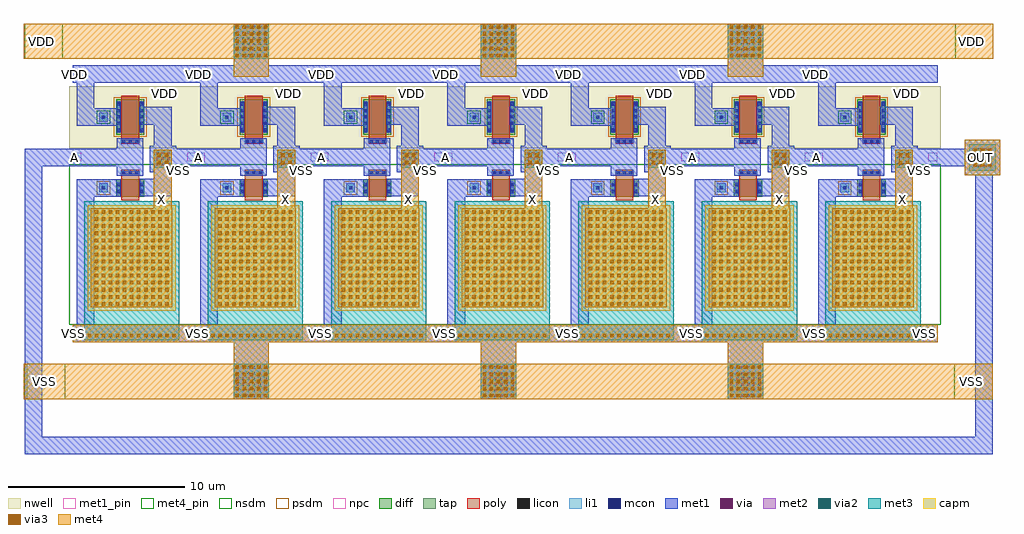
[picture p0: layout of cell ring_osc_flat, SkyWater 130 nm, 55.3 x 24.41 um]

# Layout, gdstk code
import gdstk
lib = gdstk.Library(unit=1e-6, precision=1e-09)
def R(c, l, rs):  # rectangles x0, y0, x1, y1
    for r in rs: c.add(gdstk.rectangle(r[:2], r[2:], *l))
def A(c, l, x, y, w, h, nx, ny, dx, dy):  # array of equal rectangles
    R(c, l, [(x+i*dx, y+j*dy, x+i*dx+w, y+j*dy+h) for i in range(nx) for j in range(ny)])
nwell = (64, 20)
diff = (65, 20)
tap = (65, 44)
poly = (66, 20)
licon = (66, 44)
li1 = (67, 20)
mcon = (67, 44)
met1_pin = (68, 16)
met1 = (68, 20)
via = (68, 44)
met2 = (69, 20)
via2 = (69, 44)
met3 = (70, 20)
via3 = (70, 44)
met4_pin = (71, 16)
met4 = (71, 20)
capm = (89, 44)
nsdm = (93, 44)
psdm = (94, 20)
npc = (95, 20)

ring_osc_flat = lib.new_cell('ring_osc_flat')
A(ring_osc_flat, nwell, -0.2, 11, 7.4, 3.5, 7, 1, 7, 0)
A(ring_osc_flat, nwell, 2.165, 11.05, 2.21, 3.1, 7, 1, 7, 0)
A(ring_osc_flat, nwell, 1.32, 12.32, 0.86, 0.86, 7, 1, 7, 0)
A(ring_osc_flat, diff, 2.47, 8.25, 1.6, 1, 7, 1, 7, 0)
A(ring_osc_flat, diff, 2.47, 11.77, 1.6, 2, 7, 1, 7, 0)
A(ring_osc_flat, tap, 1.5, 8.5, 0.5, 0.5, 7, 2, 7, 4)
A(ring_osc_flat, poly, 2.77, 8.05, 1, 1.4, 7, 1, 7, 0)
A(ring_osc_flat, poly, 2.77, 9.45, 1, 0.33, 7, 2, 7, 1.79)
A(ring_osc_flat, poly, 2.77, 11.57, 1, 2.4, 7, 1, 7, 0)
A(ring_osc_flat, licon, 1.665, 8.665, 0.17, 0.17, 7, 2, 7, 4)
A(ring_osc_flat, licon, 2.825, 9.53, 0.17, 0.17, 3, 2, 0.36, 1.79)
A(ring_osc_flat, licon, 9.825, 9.53, 0.17, 0.17, 3, 2, 0.36, 1.79)
A(ring_osc_flat, licon, 16.825, 9.53, 0.17, 0.17, 3, 2, 0.36, 1.79)
A(ring_osc_flat, licon, 23.825, 9.53, 0.17, 0.17, 3, 2, 0.36, 1.79)
A(ring_osc_flat, licon, 30.825, 9.53, 0.17, 0.17, 3, 2, 0.36, 1.79)
A(ring_osc_flat, licon, 37.825, 9.53, 0.17, 0.17, 3, 2, 0.36, 1.79)
A(ring_osc_flat, licon, 44.825, 9.53, 0.17, 0.17, 3, 2, 0.36, 1.79)
A(ring_osc_flat, licon, 2.535, 11.965, 0.17, 0.17, 1, 5, 0, 0.36)
A(ring_osc_flat, licon, 3.835, 11.965, 0.17, 0.17, 1, 5, 0, 0.36)
A(ring_osc_flat, licon, 9.535, 11.965, 0.17, 0.17, 1, 5, 0, 0.36)
A(ring_osc_flat, licon, 10.835, 11.965, 0.17, 0.17, 1, 5, 0, 0.36)
A(ring_osc_flat, licon, 16.535, 11.965, 0.17, 0.17, 1, 5, 0, 0.36)
A(ring_osc_flat, licon, 17.835, 11.965, 0.17, 0.17, 1, 5, 0, 0.36)
A(ring_osc_flat, licon, 23.535, 11.965, 0.17, 0.17, 1, 5, 0, 0.36)
A(ring_osc_flat, licon, 24.835, 11.965, 0.17, 0.17, 1, 5, 0, 0.36)
A(ring_osc_flat, licon, 30.535, 11.965, 0.17, 0.17, 1, 5, 0, 0.36)
A(ring_osc_flat, licon, 31.835, 11.965, 0.17, 0.17, 1, 5, 0, 0.36)
A(ring_osc_flat, licon, 37.535, 11.965, 0.17, 0.17, 1, 5, 0, 0.36)
A(ring_osc_flat, licon, 38.835, 11.965, 0.17, 0.17, 1, 5, 0, 0.36)
A(ring_osc_flat, licon, 44.535, 11.965, 0.17, 0.17, 1, 5, 0, 0.36)
A(ring_osc_flat, licon, 45.835, 11.965, 0.17, 0.17, 1, 5, 0, 0.36)
R(ring_osc_flat, licon, [(2.535,8.485,2.705,8.655), (3.835,8.485,4.005,8.655), (9.535,8.485,9.705,8.655), (10.835,8.485,11.005,8.655), (16.535,8.485,16.705,8.655), (17.835,8.485,18.005,8.655), (23.535,8.485,23.705,8.655), (24.835,8.485,25.005,8.655), (30.535,8.485,30.705,8.655), (31.835,8.485,32.005,8.655), (37.535,8.485,37.705,8.655), (38.835,8.485,39.005,8.655), (44.535,8.485,44.705,8.655), (45.835,8.485,46.005,8.655), (2.535,8.845,2.705,9.015), (3.835,8.845,4.005,9.015), (9.535,8.845,9.705,9.015), (10.835,8.845,11.005,9.015), (16.535,8.845,16.705,9.015), (17.835,8.845,18.005,9.015), (23.535,8.845,23.705,9.015), (24.835,8.845,25.005,9.015), (30.535,8.845,30.705,9.015), (31.835,8.845,32.005,9.015), (37.535,8.845,37.705,9.015), (38.835,8.845,39.005,9.015), (44.535,8.845,44.705,9.015), (45.835,8.845,46.005,9.015)])
A(ring_osc_flat, li1, 1.5, 8.5, 0.5, 0.5, 7, 2, 7, 4)
A(ring_osc_flat, li1, 2.745, 9.53, 1.05, 0.17, 7, 2, 7, 1.79)
R(ring_osc_flat, li1, [(2.535,8.405,2.705,9.095), (3.835,8.405,4.005,9.095), (9.535,8.405,9.705,9.095), (10.835,8.405,11.005,9.095), (16.535,8.405,16.705,9.095), (17.835,8.405,18.005,9.095), (23.535,8.405,23.705,9.095), (24.835,8.405,25.005,9.095), (30.535,8.405,30.705,9.095), (31.835,8.405,32.005,9.095), (37.535,8.405,37.705,9.095), (38.835,8.405,39.005,9.095), (44.535,8.405,44.705,9.095), (45.835,8.405,46.005,9.095), (2.535,11.885,2.705,13.655), (3.835,11.885,4.005,13.655), (9.535,11.885,9.705,13.655), (10.835,11.885,11.005,13.655), (16.535,11.885,16.705,13.655), (17.835,11.885,18.005,13.655), (23.535,11.885,23.705,13.655), (24.835,11.885,25.005,13.655), (30.535,11.885,30.705,13.655), (31.835,11.885,32.005,13.655), (37.535,11.885,37.705,13.655), (38.835,11.885,39.005,13.655), (44.535,11.885,44.705,13.655), (45.835,11.885,46.005,13.655)])
A(ring_osc_flat, mcon, 1.665, 8.665, 0.17, 0.17, 7, 2, 7, 4)
A(ring_osc_flat, mcon, 2.825, 9.53, 0.17, 0.17, 3, 2, 0.36, 1.79)
A(ring_osc_flat, mcon, 9.825, 9.53, 0.17, 0.17, 3, 2, 0.36, 1.79)
A(ring_osc_flat, mcon, 16.825, 9.53, 0.17, 0.17, 3, 2, 0.36, 1.79)
A(ring_osc_flat, mcon, 23.825, 9.53, 0.17, 0.17, 3, 2, 0.36, 1.79)
A(ring_osc_flat, mcon, 30.825, 9.53, 0.17, 0.17, 3, 2, 0.36, 1.79)
A(ring_osc_flat, mcon, 37.825, 9.53, 0.17, 0.17, 3, 2, 0.36, 1.79)
A(ring_osc_flat, mcon, 44.825, 9.53, 0.17, 0.17, 3, 2, 0.36, 1.79)
A(ring_osc_flat, mcon, 2.535, 11.965, 0.17, 0.17, 1, 5, 0, 0.36)
A(ring_osc_flat, mcon, 3.835, 11.965, 0.17, 0.17, 1, 5, 0, 0.36)
A(ring_osc_flat, mcon, 9.535, 11.965, 0.17, 0.17, 1, 5, 0, 0.36)
A(ring_osc_flat, mcon, 10.835, 11.965, 0.17, 0.17, 1, 5, 0, 0.36)
A(ring_osc_flat, mcon, 16.535, 11.965, 0.17, 0.17, 1, 5, 0, 0.36)
A(ring_osc_flat, mcon, 17.835, 11.965, 0.17, 0.17, 1, 5, 0, 0.36)
A(ring_osc_flat, mcon, 23.535, 11.965, 0.17, 0.17, 1, 5, 0, 0.36)
A(ring_osc_flat, mcon, 24.835, 11.965, 0.17, 0.17, 1, 5, 0, 0.36)
A(ring_osc_flat, mcon, 30.535, 11.965, 0.17, 0.17, 1, 5, 0, 0.36)
A(ring_osc_flat, mcon, 31.835, 11.965, 0.17, 0.17, 1, 5, 0, 0.36)
A(ring_osc_flat, mcon, 37.535, 11.965, 0.17, 0.17, 1, 5, 0, 0.36)
A(ring_osc_flat, mcon, 38.835, 11.965, 0.17, 0.17, 1, 5, 0, 0.36)
A(ring_osc_flat, mcon, 44.535, 11.965, 0.17, 0.17, 1, 5, 0, 0.36)
A(ring_osc_flat, mcon, 45.835, 11.965, 0.17, 0.17, 1, 5, 0, 0.36)
R(ring_osc_flat, mcon, [(2.535,8.485,2.705,8.655), (3.835,8.485,4.005,8.655), (9.535,8.485,9.705,8.655), (10.835,8.485,11.005,8.655), (16.535,8.485,16.705,8.655), (17.835,8.485,18.005,8.655), (23.535,8.485,23.705,8.655), (24.835,8.485,25.005,8.655), (30.535,8.485,30.705,8.655), (31.835,8.485,32.005,8.655), (37.535,8.485,37.705,8.655), (38.835,8.485,39.005,8.655), (44.535,8.485,44.705,8.655), (45.835,8.485,46.005,8.655), (2.535,8.845,2.705,9.015), (3.835,8.845,4.005,9.015), (9.535,8.845,9.705,9.015), (10.835,8.845,11.005,9.015), (16.535,8.845,16.705,9.015), (17.835,8.845,18.005,9.015), (23.535,8.845,23.705,9.015), (24.835,8.845,25.005,9.015), (30.535,8.845,30.705,9.015), (31.835,8.845,32.005,9.015), (37.535,8.845,37.705,9.015), (38.835,8.845,39.005,9.015), (44.535,8.845,44.705,9.015), (45.835,8.845,46.005,9.015)])
A(ring_osc_flat, met1_pin, 0, 0.23, 0.5, 0.5, 7, 2, 7, 14.72)
R(ring_osc_flat, met1_pin, [(0,10.25,0.5,10.75), (6.49,10.25,6.99,10.75), (7,10.25,7.5,10.75), (13.49,10.25,13.99,10.75), (14,10.25,14.5,10.75), (20.49,10.25,20.99,10.75), (21,10.25,21.5,10.75), (27.49,10.25,27.99,10.75), (28,10.25,28.5,10.75), (34.49,10.25,34.99,10.75), (35,10.25,35.5,10.75), (41.49,10.25,41.99,10.75), (42,10.25,42.5,10.75), (48.49,10.25,48.99,10.75)])
A(ring_osc_flat, met1, 9.13, -3.21, 2, 2, 3, 2, 14, 19.27)
A(ring_osc_flat, met1, 1.5, 8.5, 0.5, 0.5, 7, 2, 7, 4)
A(ring_osc_flat, met1, 2.765, 9.5, 1.01, 0.23, 7, 2, 7, 1.79)
A(ring_osc_flat, met1, 4.38, 9.65, 1.5, 1.5, 7, 1, 7, 0)
A(ring_osc_flat, met1, 4.61, 9.9, 1, 1, 7, 1, 7, 0)
A(ring_osc_flat, met1, 0.72, 12.96, 0.07, 0.31, 7, 1, 7, 0)
R(ring_osc_flat, met1, [(2.505,8.425,2.735,9.075), (3.805,8.425,4.035,9.075), (9.505,8.425,9.735,9.075), (10.805,8.425,11.035,9.075), (16.505,8.425,16.735,9.075), (17.805,8.425,18.035,9.075), (23.505,8.425,23.735,9.075), (24.805,8.425,25.035,9.075), (30.505,8.425,30.735,9.075), (31.805,8.425,32.035,9.075), (37.505,8.425,37.735,9.075), (38.805,8.425,39.035,9.075), (44.505,8.425,44.735,9.075), (45.805,8.425,46.035,9.075), (50.545,9.47,52.545,11.47), (50.81,9.73,52.31,11.23), (2.505,11.905,2.735,13.635), (3.805,11.905,4.035,13.635), (9.505,11.905,9.735,13.635), (10.805,11.905,11.035,13.635), (16.505,11.905,16.735,13.635), (17.805,11.905,18.035,13.635), (23.505,11.905,23.735,13.635), (24.805,11.905,25.035,13.635), (30.505,11.905,30.735,13.635), (31.805,11.905,32.035,13.635), (37.505,11.905,37.735,13.635), (38.805,11.905,39.035,13.635), (44.505,11.905,44.735,13.635), (45.805,11.905,46.035,13.635)])
A(ring_osc_flat, via, 9.255, -3.085, 0.15, 0.15, 6, 6, 0.32, 0.32)
A(ring_osc_flat, via, 23.255, -3.085, 0.15, 0.15, 6, 6, 0.32, 0.32)
A(ring_osc_flat, via, 37.255, -3.085, 0.15, 0.15, 6, 6, 0.32, 0.32)
A(ring_osc_flat, via, 51.005, 9.925, 0.15, 0.15, 4, 4, 0.32, 0.32)
A(ring_osc_flat, via, 4.715, 10.005, 0.15, 0.15, 3, 3, 0.32, 0.32)
A(ring_osc_flat, via, 11.715, 10.005, 0.15, 0.15, 3, 3, 0.32, 0.32)
A(ring_osc_flat, via, 18.715, 10.005, 0.15, 0.15, 3, 3, 0.32, 0.32)
A(ring_osc_flat, via, 25.715, 10.005, 0.15, 0.15, 3, 3, 0.32, 0.32)
A(ring_osc_flat, via, 32.715, 10.005, 0.15, 0.15, 3, 3, 0.32, 0.32)
A(ring_osc_flat, via, 39.715, 10.005, 0.15, 0.15, 3, 3, 0.32, 0.32)
A(ring_osc_flat, via, 46.715, 10.005, 0.15, 0.15, 3, 3, 0.32, 0.32)
A(ring_osc_flat, via, 9.255, 16.185, 0.15, 0.15, 6, 6, 0.32, 0.32)
A(ring_osc_flat, via, 23.255, 16.185, 0.15, 0.15, 6, 6, 0.32, 0.32)
A(ring_osc_flat, via, 37.255, 16.185, 0.15, 0.15, 6, 6, 0.32, 0.32)
A(ring_osc_flat, met2, 9.13, -3.21, 2, 2, 3, 2, 14, 19.27)
A(ring_osc_flat, met2, 4.61, 9.9, 1, 1, 7, 1, 7, 0)
R(ring_osc_flat, met2, [(50.81,9.73,52.31,11.23)])
A(ring_osc_flat, via2, 9.23, -3.11, 0.2, 0.2, 5, 5, 0.4, 0.4)
A(ring_osc_flat, via2, 23.23, -3.11, 0.2, 0.2, 5, 5, 0.4, 0.4)
A(ring_osc_flat, via2, 37.23, -3.11, 0.2, 0.2, 5, 5, 0.4, 0.4)
A(ring_osc_flat, via2, 51.06, 9.98, 0.2, 0.2, 3, 3, 0.4, 0.4)
A(ring_osc_flat, via2, 9.23, 16.16, 0.2, 0.2, 5, 5, 0.4, 0.4)
A(ring_osc_flat, via2, 23.23, 16.16, 0.2, 0.2, 5, 5, 0.4, 0.4)
A(ring_osc_flat, via2, 37.23, 16.16, 0.2, 0.2, 5, 5, 0.4, 0.4)
R(ring_osc_flat, via2, [(4.81,10.1,5.01,10.3), (5.21,10.1,5.41,10.3), (11.81,10.1,12.01,10.3), (12.21,10.1,12.41,10.3), (18.81,10.1,19.01,10.3), (19.21,10.1,19.41,10.3), (25.81,10.1,26.01,10.3), (26.21,10.1,26.41,10.3), (32.81,10.1,33.01,10.3), (33.21,10.1,33.41,10.3), (39.81,10.1,40.01,10.3), (40.21,10.1,40.41,10.3), (46.81,10.1,47.01,10.3), (47.21,10.1,47.41,10.3), (4.81,10.5,5.01,10.7), (5.21,10.5,5.41,10.7), (11.81,10.5,12.01,10.7), (12.21,10.5,12.41,10.7), (18.81,10.5,19.01,10.7), (19.21,10.5,19.41,10.7), (25.81,10.5,26.01,10.7), (26.21,10.5,26.41,10.7), (32.81,10.5,33.01,10.7), (33.21,10.5,33.41,10.7), (39.81,10.5,40.01,10.7), (40.21,10.5,40.41,10.7), (46.81,10.5,47.01,10.7), (47.21,10.5,47.41,10.7)])
A(ring_osc_flat, met3, 9.13, -3.21, 2, 2, 3, 2, 14, 19.27)
A(ring_osc_flat, met3, 0.65, 0.12, 5.4, 7.86, 7, 1, 7, 0)
A(ring_osc_flat, met3, 4.61, 9.9, 1, 1, 7, 1, 7, 0)
R(ring_osc_flat, met3, [(50.81,9.73,52.31,11.23)])
A(ring_osc_flat, via3, 9.23, -3.11, 0.2, 0.2, 5, 5, 0.4, 0.4)
A(ring_osc_flat, via3, 23.23, -3.11, 0.2, 0.2, 5, 5, 0.4, 0.4)
A(ring_osc_flat, via3, 37.23, -3.11, 0.2, 0.2, 5, 5, 0.4, 0.4)
A(ring_osc_flat, via3, 0.85, 0.28, 0.2, 0.2, 13, 1, 0.4, 0)
A(ring_osc_flat, via3, 7.85, 0.28, 0.2, 0.2, 13, 1, 0.4, 0)
A(ring_osc_flat, via3, 14.85, 0.28, 0.2, 0.2, 13, 1, 0.4, 0)
A(ring_osc_flat, via3, 21.85, 0.28, 0.2, 0.2, 13, 1, 0.4, 0)
A(ring_osc_flat, via3, 28.85, 0.28, 0.2, 0.2, 13, 1, 0.4, 0)
A(ring_osc_flat, via3, 35.85, 0.28, 0.2, 0.2, 13, 1, 0.4, 0)
A(ring_osc_flat, via3, 42.85, 0.28, 0.2, 0.2, 13, 1, 0.4, 0)
A(ring_osc_flat, via3, 1.25, 2.08, 0.2, 0.2, 11, 14, 0.4, 0.4)
A(ring_osc_flat, via3, 8.25, 2.08, 0.2, 0.2, 11, 14, 0.4, 0.4)
A(ring_osc_flat, via3, 15.25, 2.08, 0.2, 0.2, 11, 14, 0.4, 0.4)
A(ring_osc_flat, via3, 22.25, 2.08, 0.2, 0.2, 11, 14, 0.4, 0.4)
A(ring_osc_flat, via3, 29.25, 2.08, 0.2, 0.2, 11, 14, 0.4, 0.4)
A(ring_osc_flat, via3, 36.25, 2.08, 0.2, 0.2, 11, 14, 0.4, 0.4)
A(ring_osc_flat, via3, 43.25, 2.08, 0.2, 0.2, 11, 14, 0.4, 0.4)
A(ring_osc_flat, via3, 51.06, 9.98, 0.2, 0.2, 3, 3, 0.4, 0.4)
A(ring_osc_flat, via3, 9.23, 16.16, 0.2, 0.2, 5, 5, 0.4, 0.4)
A(ring_osc_flat, via3, 23.23, 16.16, 0.2, 0.2, 5, 5, 0.4, 0.4)
A(ring_osc_flat, via3, 37.23, 16.16, 0.2, 0.2, 5, 5, 0.4, 0.4)
R(ring_osc_flat, via3, [(4.81,10.1,5.01,10.3), (5.21,10.1,5.41,10.3), (11.81,10.1,12.01,10.3), (12.21,10.1,12.41,10.3), (18.81,10.1,19.01,10.3), (19.21,10.1,19.41,10.3), (25.81,10.1,26.01,10.3), (26.21,10.1,26.41,10.3), (32.81,10.1,33.01,10.3), (33.21,10.1,33.41,10.3), (39.81,10.1,40.01,10.3), (40.21,10.1,40.41,10.3), (46.81,10.1,47.01,10.3), (47.21,10.1,47.41,10.3), (4.81,10.5,5.01,10.7), (5.21,10.5,5.41,10.7), (11.81,10.5,12.01,10.7), (12.21,10.5,12.41,10.7), (18.81,10.5,19.01,10.7), (19.21,10.5,19.41,10.7), (25.81,10.5,26.01,10.7), (26.21,10.5,26.41,10.7), (32.81,10.5,33.01,10.7), (33.21,10.5,33.41,10.7), (39.81,10.5,40.01,10.7), (40.21,10.5,40.41,10.7), (46.81,10.5,47.01,10.7), (47.21,10.5,47.41,10.7)])
R(ring_osc_flat, met4_pin, [(-2.59,-3.21,-0.42,-1.21), (49.96,-3.21,52.13,-1.21), (51.05,9.945,52.05,10.945), (-2.7,16.06,-0.55,18.06), (50.02,16.06,52.17,18.06)])
A(ring_osc_flat, met4, 9.13, -3.21, 2, 2, 3, 2, 14, 19.27)
A(ring_osc_flat, met4, 0.71, 0.14, 5.28, 0.48, 7, 1, 7, 0)
A(ring_osc_flat, met4, 1.045, 1.975, 4.61, 5.61, 7, 1, 7, 0)
A(ring_osc_flat, met4, 4.61, 9.9, 1, 1, 7, 1, 7, 0)
R(ring_osc_flat, met4, [(50.545,9.47,52.545,11.47), (50.81,9.73,52.31,11.23)])
A(ring_osc_flat, capm, 0.85, 1.78, 5, 6, 7, 1, 7, 0)
A(ring_osc_flat, nsdm, -0.2, 1, 7.4, 9.1, 7, 1, 7, 0)
A(ring_osc_flat, nsdm, 2.345, 8.125, 1.85, 1.25, 7, 1, 7, 0)
A(ring_osc_flat, nsdm, 1.375, 12.375, 0.75, 0.75, 7, 1, 7, 0)
A(ring_osc_flat, psdm, 1.375, 8.375, 0.75, 0.75, 7, 1, 7, 0)
A(ring_osc_flat, psdm, 2.345, 11.645, 1.85, 2.25, 7, 1, 7, 0)
A(ring_osc_flat, npc, 2.76, 9.44, 1.02, 0.35, 7, 2, 7, 1.79)
ring_osc_flat.add(gdstk.FlexPath([(3.25,9.45),(3.25,11.55)], 1.5, ends="flush", simple_path=True, layer=68, datatype=20))  # met1
ring_osc_flat.add(gdstk.FlexPath([(5.88,10.47),(7.25,10.47)], 1, ends="flush", simple_path=True, layer=68, datatype=20))  # met1
ring_osc_flat.add(gdstk.FlexPath([(0,15.2),(7.03,15.2)], 1, ends="flush", simple_path=True, layer=68, datatype=20))  # met1
ring_osc_flat.add(gdstk.FlexPath([(3.27,10.47),(0,10.47)], 1, ends="flush", simple_path=True, layer=68, datatype=20))  # met1
ring_osc_flat.add(gdstk.FlexPath([(0,0.5),(7.03,0.5)], 1, ends="flush", simple_path=True, layer=68, datatype=20))  # met1
ring_osc_flat.add(gdstk.FlexPath([(3.805,8.77),(5.11,8.77),(5.11,12.84),(3.77,12.84)], 1, ends="flush", simple_path=True, layer=68, datatype=20))  # met1
ring_osc_flat.add(gdstk.FlexPath([(2.735,12.77),(0.24,12.77)], 1, ends="flush", simple_path=True, layer=68, datatype=20))  # met1
ring_osc_flat.add(gdstk.FlexPath([(0.74,8.25),(0.74,0.41)], 1, ends="flush", simple_path=True, layer=68, datatype=20))  # met1
ring_osc_flat.add(gdstk.FlexPath([(0.74,13.27),(0.74,15.51)], 1, ends="flush", simple_path=True, layer=68, datatype=20))  # met1
ring_osc_flat.add(gdstk.FlexPath([(2.735,8.75),(0.24,8.75)], 1, ends="flush", simple_path=True, layer=68, datatype=20))  # met1
ring_osc_flat.add(gdstk.FlexPath([(10.25,9.45),(10.25,11.55)], 1.5, ends="flush", simple_path=True, layer=68, datatype=20))  # met1
ring_osc_flat.add(gdstk.FlexPath([(12.88,10.47),(14.25,10.47)], 1, ends="flush", simple_path=True, layer=68, datatype=20))  # met1
ring_osc_flat.add(gdstk.FlexPath([(7,15.2),(14.03,15.2)], 1, ends="flush", simple_path=True, layer=68, datatype=20))  # met1
ring_osc_flat.add(gdstk.FlexPath([(10.27,10.47),(7,10.47)], 1, ends="flush", simple_path=True, layer=68, datatype=20))  # met1
ring_osc_flat.add(gdstk.FlexPath([(7,0.5),(14.03,0.5)], 1, ends="flush", simple_path=True, layer=68, datatype=20))  # met1
ring_osc_flat.add(gdstk.FlexPath([(10.805,8.77),(12.11,8.77),(12.11,12.84),(10.77,12.84)], 1, ends="flush", simple_path=True, layer=68, datatype=20))  # met1
ring_osc_flat.add(gdstk.FlexPath([(9.735,12.77),(7.24,12.77)], 1, ends="flush", simple_path=True, layer=68, datatype=20))  # met1
ring_osc_flat.add(gdstk.FlexPath([(7.74,8.25),(7.74,0.41)], 1, ends="flush", simple_path=True, layer=68, datatype=20))  # met1
ring_osc_flat.add(gdstk.FlexPath([(7.74,13.27),(7.74,15.51)], 1, ends="flush", simple_path=True, layer=68, datatype=20))  # met1
ring_osc_flat.add(gdstk.FlexPath([(9.735,8.75),(7.24,8.75)], 1, ends="flush", simple_path=True, layer=68, datatype=20))  # met1
ring_osc_flat.add(gdstk.FlexPath([(17.25,9.45),(17.25,11.55)], 1.5, ends="flush", simple_path=True, layer=68, datatype=20))  # met1
ring_osc_flat.add(gdstk.FlexPath([(19.88,10.47),(21.25,10.47)], 1, ends="flush", simple_path=True, layer=68, datatype=20))  # met1
ring_osc_flat.add(gdstk.FlexPath([(14,15.2),(21.03,15.2)], 1, ends="flush", simple_path=True, layer=68, datatype=20))  # met1
ring_osc_flat.add(gdstk.FlexPath([(17.27,10.47),(14,10.47)], 1, ends="flush", simple_path=True, layer=68, datatype=20))  # met1
ring_osc_flat.add(gdstk.FlexPath([(14,0.5),(21.03,0.5)], 1, ends="flush", simple_path=True, layer=68, datatype=20))  # met1
ring_osc_flat.add(gdstk.FlexPath([(17.805,8.77),(19.11,8.77),(19.11,12.84),(17.77,12.84)], 1, ends="flush", simple_path=True, layer=68, datatype=20))  # met1
ring_osc_flat.add(gdstk.FlexPath([(16.735,12.77),(14.24,12.77)], 1, ends="flush", simple_path=True, layer=68, datatype=20))  # met1
ring_osc_flat.add(gdstk.FlexPath([(14.74,8.25),(14.74,0.41)], 1, ends="flush", simple_path=True, layer=68, datatype=20))  # met1
ring_osc_flat.add(gdstk.FlexPath([(14.74,13.27),(14.74,15.51)], 1, ends="flush", simple_path=True, layer=68, datatype=20))  # met1
ring_osc_flat.add(gdstk.FlexPath([(16.735,8.75),(14.24,8.75)], 1, ends="flush", simple_path=True, layer=68, datatype=20))  # met1
ring_osc_flat.add(gdstk.FlexPath([(24.25,9.45),(24.25,11.55)], 1.5, ends="flush", simple_path=True, layer=68, datatype=20))  # met1
ring_osc_flat.add(gdstk.FlexPath([(26.88,10.47),(28.25,10.47)], 1, ends="flush", simple_path=True, layer=68, datatype=20))  # met1
ring_osc_flat.add(gdstk.FlexPath([(21,15.2),(28.03,15.2)], 1, ends="flush", simple_path=True, layer=68, datatype=20))  # met1
ring_osc_flat.add(gdstk.FlexPath([(24.27,10.47),(21,10.47)], 1, ends="flush", simple_path=True, layer=68, datatype=20))  # met1
ring_osc_flat.add(gdstk.FlexPath([(21,0.5),(28.03,0.5)], 1, ends="flush", simple_path=True, layer=68, datatype=20))  # met1
ring_osc_flat.add(gdstk.FlexPath([(24.805,8.77),(26.11,8.77),(26.11,12.84),(24.77,12.84)], 1, ends="flush", simple_path=True, layer=68, datatype=20))  # met1
ring_osc_flat.add(gdstk.FlexPath([(23.735,12.77),(21.24,12.77)], 1, ends="flush", simple_path=True, layer=68, datatype=20))  # met1
ring_osc_flat.add(gdstk.FlexPath([(21.74,8.25),(21.74,0.41)], 1, ends="flush", simple_path=True, layer=68, datatype=20))  # met1
ring_osc_flat.add(gdstk.FlexPath([(21.74,13.27),(21.74,15.51)], 1, ends="flush", simple_path=True, layer=68, datatype=20))  # met1
ring_osc_flat.add(gdstk.FlexPath([(23.735,8.75),(21.24,8.75)], 1, ends="flush", simple_path=True, layer=68, datatype=20))  # met1
ring_osc_flat.add(gdstk.FlexPath([(31.25,9.45),(31.25,11.55)], 1.5, ends="flush", simple_path=True, layer=68, datatype=20))  # met1
ring_osc_flat.add(gdstk.FlexPath([(33.88,10.47),(35.25,10.47)], 1, ends="flush", simple_path=True, layer=68, datatype=20))  # met1
ring_osc_flat.add(gdstk.FlexPath([(28,15.2),(35.03,15.2)], 1, ends="flush", simple_path=True, layer=68, datatype=20))  # met1
ring_osc_flat.add(gdstk.FlexPath([(31.27,10.47),(28,10.47)], 1, ends="flush", simple_path=True, layer=68, datatype=20))  # met1
ring_osc_flat.add(gdstk.FlexPath([(28,0.5),(35.03,0.5)], 1, ends="flush", simple_path=True, layer=68, datatype=20))  # met1
ring_osc_flat.add(gdstk.FlexPath([(31.805,8.77),(33.11,8.77),(33.11,12.84),(31.77,12.84)], 1, ends="flush", simple_path=True, layer=68, datatype=20))  # met1
ring_osc_flat.add(gdstk.FlexPath([(30.735,12.77),(28.24,12.77)], 1, ends="flush", simple_path=True, layer=68, datatype=20))  # met1
ring_osc_flat.add(gdstk.FlexPath([(28.74,8.25),(28.74,0.41)], 1, ends="flush", simple_path=True, layer=68, datatype=20))  # met1
ring_osc_flat.add(gdstk.FlexPath([(28.74,13.27),(28.74,15.51)], 1, ends="flush", simple_path=True, layer=68, datatype=20))  # met1
ring_osc_flat.add(gdstk.FlexPath([(30.735,8.75),(28.24,8.75)], 1, ends="flush", simple_path=True, layer=68, datatype=20))  # met1
ring_osc_flat.add(gdstk.FlexPath([(38.25,9.45),(38.25,11.55)], 1.5, ends="flush", simple_path=True, layer=68, datatype=20))  # met1
ring_osc_flat.add(gdstk.FlexPath([(40.88,10.47),(42.25,10.47)], 1, ends="flush", simple_path=True, layer=68, datatype=20))  # met1
ring_osc_flat.add(gdstk.FlexPath([(35,15.2),(42.03,15.2)], 1, ends="flush", simple_path=True, layer=68, datatype=20))  # met1
ring_osc_flat.add(gdstk.FlexPath([(38.27,10.47),(35,10.47)], 1, ends="flush", simple_path=True, layer=68, datatype=20))  # met1
ring_osc_flat.add(gdstk.FlexPath([(35,0.5),(42.03,0.5)], 1, ends="flush", simple_path=True, layer=68, datatype=20))  # met1
ring_osc_flat.add(gdstk.FlexPath([(38.805,8.77),(40.11,8.77),(40.11,12.84),(38.77,12.84)], 1, ends="flush", simple_path=True, layer=68, datatype=20))  # met1
ring_osc_flat.add(gdstk.FlexPath([(37.735,12.77),(35.24,12.77)], 1, ends="flush", simple_path=True, layer=68, datatype=20))  # met1
ring_osc_flat.add(gdstk.FlexPath([(35.74,8.25),(35.74,0.41)], 1, ends="flush", simple_path=True, layer=68, datatype=20))  # met1
ring_osc_flat.add(gdstk.FlexPath([(35.74,13.27),(35.74,15.51)], 1, ends="flush", simple_path=True, layer=68, datatype=20))  # met1
ring_osc_flat.add(gdstk.FlexPath([(37.735,8.75),(35.24,8.75)], 1, ends="flush", simple_path=True, layer=68, datatype=20))  # met1
ring_osc_flat.add(gdstk.FlexPath([(45.25,9.45),(45.25,11.55)], 1.5, ends="flush", simple_path=True, layer=68, datatype=20))  # met1
ring_osc_flat.add(gdstk.FlexPath([(47.88,10.47),(49.25,10.47)], 1, ends="flush", simple_path=True, layer=68, datatype=20))  # met1
ring_osc_flat.add(gdstk.FlexPath([(42,15.2),(49.03,15.2)], 1, ends="flush", simple_path=True, layer=68, datatype=20))  # met1
ring_osc_flat.add(gdstk.FlexPath([(45.27,10.47),(42,10.47)], 1, ends="flush", simple_path=True, layer=68, datatype=20))  # met1
ring_osc_flat.add(gdstk.FlexPath([(42,0.5),(49.03,0.5)], 1, ends="flush", simple_path=True, layer=68, datatype=20))  # met1
ring_osc_flat.add(gdstk.FlexPath([(45.805,8.77),(47.11,8.77),(47.11,12.84),(45.77,12.84)], 1, ends="flush", simple_path=True, layer=68, datatype=20))  # met1
ring_osc_flat.add(gdstk.FlexPath([(44.735,12.77),(42.24,12.77)], 1, ends="flush", simple_path=True, layer=68, datatype=20))  # met1
ring_osc_flat.add(gdstk.FlexPath([(42.74,8.25),(42.74,0.41)], 1, ends="flush", simple_path=True, layer=68, datatype=20))  # met1
ring_osc_flat.add(gdstk.FlexPath([(42.74,13.27),(42.74,15.51)], 1, ends="flush", simple_path=True, layer=68, datatype=20))  # met1
ring_osc_flat.add(gdstk.FlexPath([(44.735,8.75),(42.24,8.75)], 1, ends="flush", simple_path=True, layer=68, datatype=20))  # met1
ring_osc_flat.add(gdstk.FlexPath([(0.2,10.47),(-2.22,10.47),(-2.22,-5.85),(51.63,-5.85),(51.63,10.47),(48.93,10.47),(48.93,10.47)], 1, ends="flush", simple_path=True, layer=68, datatype=20))  # met1
ring_osc_flat.add(gdstk.FlexPath([(10.13,-1.21),(10.13,0.06),(10.13,0.06)], 2, ends="flush", simple_path=True, layer=68, datatype=20))  # met1
ring_osc_flat.add(gdstk.FlexPath([(38.13,-1.21),(38.13,0.12),(38.13,0.12)], 2, ends="flush", simple_path=True, layer=68, datatype=20))  # met1
ring_osc_flat.add(gdstk.FlexPath([(24.13,-1.21),(24.13,0.06),(24.13,0.06)], 2, ends="flush", simple_path=True, layer=68, datatype=20))  # met1
ring_osc_flat.add(gdstk.FlexPath([(10.13,16.06),(10.13,16.16)], 2, ends="extended", simple_path=True, layer=68, datatype=20))  # met1
ring_osc_flat.add(gdstk.FlexPath([(24.13,16.06),(24.13,16.16)], 2, ends="extended", simple_path=True, layer=68, datatype=20))  # met1
ring_osc_flat.add(gdstk.FlexPath([(38.13,16.06),(38.13,16.16)], 2, ends="extended", simple_path=True, layer=68, datatype=20))  # met1
ring_osc_flat.add(gdstk.FlexPath([(-2.75,-2.21),(52.13,-2.21)], 2, ends="flush", simple_path=True, layer=71, datatype=20))  # met4
ring_osc_flat.add(gdstk.FlexPath([(-2.75,17.06),(52.17,17.06)], 2, ends="flush", simple_path=True, layer=71, datatype=20))  # met4
ring_osc_flat.add(gdstk.FlexPath([(0,0.5),(7.03,0.5)], 1, ends="flush", simple_path=True, layer=71, datatype=20))  # met4
ring_osc_flat.add(gdstk.FlexPath([(5.11,10.9),(5.11,7.26)], 1, ends="flush", simple_path=True, layer=71, datatype=20))  # met4
ring_osc_flat.add(gdstk.FlexPath([(7,0.5),(14.03,0.5)], 1, ends="flush", simple_path=True, layer=71, datatype=20))  # met4
ring_osc_flat.add(gdstk.FlexPath([(12.11,10.9),(12.11,7.26)], 1, ends="flush", simple_path=True, layer=71, datatype=20))  # met4
ring_osc_flat.add(gdstk.FlexPath([(14,0.5),(21.03,0.5)], 1, ends="flush", simple_path=True, layer=71, datatype=20))  # met4
ring_osc_flat.add(gdstk.FlexPath([(19.11,10.9),(19.11,7.26)], 1, ends="flush", simple_path=True, layer=71, datatype=20))  # met4
ring_osc_flat.add(gdstk.FlexPath([(21,0.5),(28.03,0.5)], 1, ends="flush", simple_path=True, layer=71, datatype=20))  # met4
ring_osc_flat.add(gdstk.FlexPath([(26.11,10.9),(26.11,7.26)], 1, ends="flush", simple_path=True, layer=71, datatype=20))  # met4
ring_osc_flat.add(gdstk.FlexPath([(28,0.5),(35.03,0.5)], 1, ends="flush", simple_path=True, layer=71, datatype=20))  # met4
ring_osc_flat.add(gdstk.FlexPath([(33.11,10.9),(33.11,7.26)], 1, ends="flush", simple_path=True, layer=71, datatype=20))  # met4
ring_osc_flat.add(gdstk.FlexPath([(35,0.5),(42.03,0.5)], 1, ends="flush", simple_path=True, layer=71, datatype=20))  # met4
ring_osc_flat.add(gdstk.FlexPath([(40.11,10.9),(40.11,7.26)], 1, ends="flush", simple_path=True, layer=71, datatype=20))  # met4
ring_osc_flat.add(gdstk.FlexPath([(42,0.5),(49.03,0.5)], 1, ends="flush", simple_path=True, layer=71, datatype=20))  # met4
ring_osc_flat.add(gdstk.FlexPath([(47.11,10.9),(47.11,7.26)], 1, ends="flush", simple_path=True, layer=71, datatype=20))  # met4
ring_osc_flat.add(gdstk.FlexPath([(10.13,-1.21),(10.13,0.06),(10.13,0.06)], 2, ends="flush", simple_path=True, layer=71, datatype=20))  # met4
ring_osc_flat.add(gdstk.FlexPath([(38.13,-1.21),(38.13,0.12),(38.13,0.12)], 2, ends="flush", simple_path=True, layer=71, datatype=20))  # met4
ring_osc_flat.add(gdstk.FlexPath([(24.13,-1.21),(24.13,0.06),(24.13,0.06)], 2, ends="flush", simple_path=True, layer=71, datatype=20))  # met4
ring_osc_flat.add(gdstk.FlexPath([(10.13,16.06),(10.13,16.16)], 2, ends="extended", simple_path=True, layer=71, datatype=20))  # met4
ring_osc_flat.add(gdstk.FlexPath([(24.13,16.06),(24.13,16.16)], 2, ends="extended", simple_path=True, layer=71, datatype=20))  # met4
ring_osc_flat.add(gdstk.FlexPath([(38.13,16.06),(38.13,16.16)], 2, ends="extended", simple_path=True, layer=71, datatype=20))  # met4
ring_osc_flat.add(gdstk.Label('VSS', (5.99,9.71), layer=64, texttype=59))
ring_osc_flat.add(gdstk.Label('VSS', (12.99,9.71), layer=64, texttype=59))
ring_osc_flat.add(gdstk.Label('VSS', (19.99,9.71), layer=64, texttype=59))
ring_osc_flat.add(gdstk.Label('VSS', (26.99,9.71), layer=64, texttype=59))
ring_osc_flat.add(gdstk.Label('VSS', (33.99,9.71), layer=64, texttype=59))
ring_osc_flat.add(gdstk.Label('VSS', (40.99,9.71), layer=64, texttype=59))
ring_osc_flat.add(gdstk.Label('VSS', (47.99,9.71), layer=64, texttype=59))
ring_osc_flat.add(gdstk.Label('VDD', (5.23,14.12), layer=64, texttype=5))
ring_osc_flat.add(gdstk.Label('VDD', (12.23,14.12), layer=64, texttype=5))
ring_osc_flat.add(gdstk.Label('VDD', (19.23,14.12), layer=64, texttype=5))
ring_osc_flat.add(gdstk.Label('VDD', (26.23,14.12), layer=64, texttype=5))
ring_osc_flat.add(gdstk.Label('VDD', (33.23,14.12), layer=64, texttype=5))
ring_osc_flat.add(gdstk.Label('VDD', (40.23,14.12), layer=64, texttype=5))
ring_osc_flat.add(gdstk.Label('VDD', (47.23,14.12), layer=64, texttype=5))
ring_osc_flat.add(gdstk.Label('A', (0.13,10.47), layer=68, texttype=5))
ring_osc_flat.add(gdstk.Label('X', (6.79,10.47), layer=68, texttype=5))
ring_osc_flat.add(gdstk.Label('VSS', (0.06,0.5), layer=68, texttype=5))
ring_osc_flat.add(gdstk.Label('VDD', (0.12,15.2), layer=68, texttype=5))
ring_osc_flat.add(gdstk.Label('A', (7.13,10.47), layer=68, texttype=5))
ring_osc_flat.add(gdstk.Label('X', (13.79,10.47), layer=68, texttype=5))
ring_osc_flat.add(gdstk.Label('VSS', (7.06,0.5), layer=68, texttype=5))
ring_osc_flat.add(gdstk.Label('VDD', (7.12,15.2), layer=68, texttype=5))
ring_osc_flat.add(gdstk.Label('A', (14.13,10.47), layer=68, texttype=5))
ring_osc_flat.add(gdstk.Label('X', (20.79,10.47), layer=68, texttype=5))
ring_osc_flat.add(gdstk.Label('VSS', (14.06,0.5), layer=68, texttype=5))
ring_osc_flat.add(gdstk.Label('VDD', (14.12,15.2), layer=68, texttype=5))
ring_osc_flat.add(gdstk.Label('A', (21.13,10.47), layer=68, texttype=5))
ring_osc_flat.add(gdstk.Label('X', (27.79,10.47), layer=68, texttype=5))
ring_osc_flat.add(gdstk.Label('VSS', (21.06,0.5), layer=68, texttype=5))
ring_osc_flat.add(gdstk.Label('VDD', (21.12,15.2), layer=68, texttype=5))
ring_osc_flat.add(gdstk.Label('A', (28.13,10.47), layer=68, texttype=5))
ring_osc_flat.add(gdstk.Label('X', (34.79,10.47), layer=68, texttype=5))
ring_osc_flat.add(gdstk.Label('VSS', (28.06,0.5), layer=68, texttype=5))
ring_osc_flat.add(gdstk.Label('VDD', (28.12,15.2), layer=68, texttype=5))
ring_osc_flat.add(gdstk.Label('A', (35.13,10.47), layer=68, texttype=5))
ring_osc_flat.add(gdstk.Label('X', (41.79,10.47), layer=68, texttype=5))
ring_osc_flat.add(gdstk.Label('VSS', (35.06,0.5), layer=68, texttype=5))
ring_osc_flat.add(gdstk.Label('VDD', (35.12,15.2), layer=68, texttype=5))
ring_osc_flat.add(gdstk.Label('A', (42.13,10.47), layer=68, texttype=5))
ring_osc_flat.add(gdstk.Label('X', (48.79,10.47), layer=68, texttype=5))
ring_osc_flat.add(gdstk.Label('VSS', (42.06,0.5), layer=68, texttype=5))
ring_osc_flat.add(gdstk.Label('VDD', (42.12,15.2), layer=68, texttype=5))
ring_osc_flat.add(gdstk.Label('OUT', (51.46,10.48), layer=71, texttype=5))
ring_osc_flat.add(gdstk.Label('VDD', (-1.78,17.06), layer=71, texttype=5))
ring_osc_flat.add(gdstk.Label('VSS', (-1.61,-2.21), layer=71, texttype=5))
ring_osc_flat.add(gdstk.Label('X', (5.04,8.08), layer=71, texttype=5))
ring_osc_flat.add(gdstk.Label('VSS', (6.25,0.5), layer=71, texttype=5))
ring_osc_flat.add(gdstk.Label('X', (12.04,8.08), layer=71, texttype=5))
ring_osc_flat.add(gdstk.Label('VSS', (13.25,0.5), layer=71, texttype=5))
ring_osc_flat.add(gdstk.Label('X', (19.04,8.08), layer=71, texttype=5))
ring_osc_flat.add(gdstk.Label('VSS', (20.25,0.5), layer=71, texttype=5))
ring_osc_flat.add(gdstk.Label('X', (26.04,8.08), layer=71, texttype=5))
ring_osc_flat.add(gdstk.Label('VSS', (27.25,0.5), layer=71, texttype=5))
ring_osc_flat.add(gdstk.Label('X', (33.04,8.08), layer=71, texttype=5))
ring_osc_flat.add(gdstk.Label('VSS', (34.25,0.5), layer=71, texttype=5))
ring_osc_flat.add(gdstk.Label('X', (40.04,8.08), layer=71, texttype=5))
ring_osc_flat.add(gdstk.Label('VSS', (41.25,0.5), layer=71, texttype=5))
ring_osc_flat.add(gdstk.Label('X', (47.04,8.08), layer=71, texttype=5))
ring_osc_flat.add(gdstk.Label('VSS', (48.25,0.5), layer=71, texttype=5))
ring_osc_flat.add(gdstk.Label('VDD', (50.94,17.06), layer=71, texttype=5))
ring_osc_flat.add(gdstk.Label('VSS', (50.94,-2.21), layer=71, texttype=5))

lib.write_gds('ring_osc_flat.gds')
